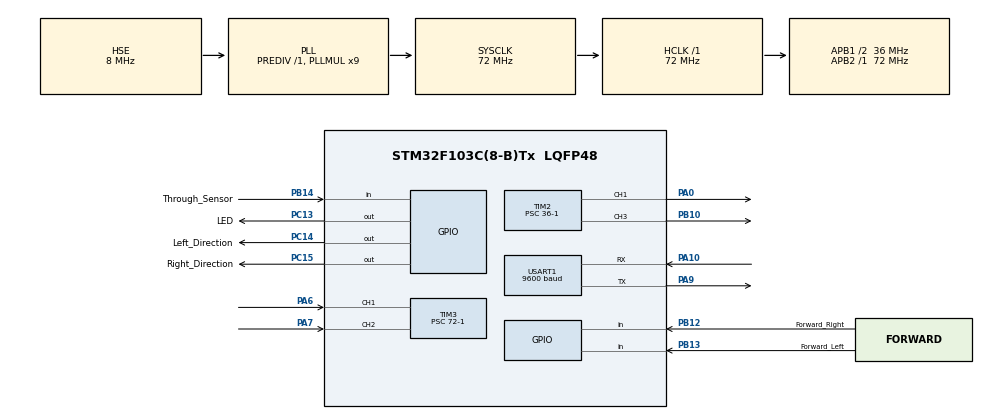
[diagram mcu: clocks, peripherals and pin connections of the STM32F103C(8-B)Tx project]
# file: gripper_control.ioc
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IWDG.Prescaler=IWDG_PRESCALER_16
IWDG.Reload=2500-1
Mcu.Family=STM32F1
Mcu.Name=STM32F103C(8-B)Tx
Mcu.Package=LQFP48
NVIC.PriorityGroup=NVIC_PRIORITYGROUP_4
NVIC.TIM2_IRQn=true\:0\:0\:false\:false\:true\:true\:true\:true
NVIC.TIM3_IRQn=true\:0\:0\:false\:false\:true\:true\:true\:true
NVIC.TIM4_IRQn=true\:0\:0\:false\:false\:true\:true\:true\:true
NVIC.USART1_IRQn=true\:0\:0\:false\:false\:true\:true\:true\:true
PA0-WKUP.Signal=S_TIM2_CH1_ETR
PA10.Mode=Asynchronous
PA10.Signal=USART1_RX
PA13.Mode=Serial_Wire
PA13.Signal=SYS_JTMS-SWDIO
PA14.Mode=Serial_Wire
PA14.Signal=SYS_JTCK-SWCLK
PA6.GPIO_PuPd=GPIO_NOPULL
PA6.Signal=S_TIM3_CH1
PA7.GPIO_PuPd=GPIO_NOPULL
PA7.Signal=S_TIM3_CH2
PA9.Mode=Asynchronous
PA9.Signal=USART1_TX
PB10.Signal=S_TIM2_CH3
PB12.GPIO_Label=Forward_Right
PB12.GPIO_PuPd=GPIO_PULLUP
PB12.Signal=GPIO_Input
PB13.GPIO_Label=Forward_Left
PB13.Signal=GPIO_Input
PB14.GPIO_Label=Through_Sensor
PB14.GPIO_PuPd=GPIO_PULLUP
PB14.Signal=GPIO_Input
PC13-TAMPER-RTC.GPIO_Label=LED
PC13-TAMPER-RTC.Signal=GPIO_Output
PC14-OSC32_IN.GPIO_Label=Left_Direction
PC14-OSC32_IN.Signal=GPIO_Output
PC15-OSC32_OUT.GPIO_Label=Right_Direction
PC15-OSC32_OUT.Signal=GPIO_Output
PD0-OSC_IN.Mode=HSE-External-Oscillator
PD0-OSC_IN.Signal=RCC_OSC_IN
PD1-OSC_OUT.Mode=HSE-External-Oscillator
PD1-OSC_OUT.Signal=RCC_OSC_OUT
ProjectManager.HeapSize=0x200
ProjectManager.StackSize=0x400
ProjectManager.TargetToolchain=STM32CubeIDE
RCC.AHBFreq_Value=72000000
RCC.APB1CLKDivider=RCC_HCLK_DIV2
RCC.APB1Freq_Value=36000000
RCC.APB1TimFreq_Value=72000000
RCC.APB2Freq_Value=72000000
RCC.APB2TimFreq_Value=72000000
RCC.FLatency=FLASH_LATENCY_2
RCC.HCLKFreq_Value=72000000
RCC.PLLMUL=RCC_PLL_MUL9
RCC.PLLSourceVirtual=RCC_PLLSOURCE_HSE
RCC.SYSCLKFreq_VALUE=72000000
RCC.SYSCLKSource=RCC_SYSCLKSOURCE_PLLCLK
RCC.USBFreq_Value=72000000
SH.S_TIM2_CH1_ETR.0=TIM2_CH1,PWM Generation1 CH1
SH.S_TIM2_CH3.0=TIM2_CH3,PWM Generation3 CH3
SH.S_TIM3_CH1.0=TIM3_CH1,Input_Capture1_from_TI1
SH.S_TIM3_CH2.0=TIM3_CH2,Input_Capture2_from_TI2
TIM2.AutoReloadPreload=TIM_AUTORELOAD_PRELOAD_DISABLE
TIM2.Channel-PWM\ Generation1\ CH1=TIM_CHANNEL_1
TIM2.Channel-PWM\ Generation3\ CH3=TIM_CHANNEL_3
TIM2.ClockDivision=TIM_CLOCKDIVISION_DIV1
TIM2.CounterMode=TIM_COUNTERMODE_UP
TIM2.Period=100-1
TIM2.Prescaler=36-1
TIM2.TIM_MasterOutputTrigger=TIM_TRGO_RESET
TIM2.TIM_MasterSlaveMode=TIM_MASTERSLAVEMODE_DISABLE
TIM3.Channel-Input_Capture1_from_TI1=TIM_CHANNEL_1
TIM3.Channel-Input_Capture2_from_TI2=TIM_CHANNEL_2
TIM3.Period=65535
TIM3.Prescaler=72-1
TIM4.AutoReloadPreload=TIM_AUTORELOAD_PRELOAD_DISABLE
TIM4.Period=200-1
TIM4.Prescaler=7200-1
USART1.BaudRate=9600
USART1.Mode=MODE_TX_RX
USART1.Parity=PARITY_NONE
USART1.StopBits=STOPBITS_1
USART1.VirtualMode=VM_ASYNC
USART1.WordLength=WORDLENGTH_8B
VP_IWDG_VS_IWDG.Mode=IWDG_Activate
VP_TIM2_VS_ClockSourceINT.Mode=Internal
VP_TIM3_VS_ClockSourceINT.Mode=Internal
VP_TIM4_VS_ClockSourceINT.Mode=Internal
board=custom

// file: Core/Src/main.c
/* USER CODE BEGIN Header */
/**
  ******************************************************************************
  * @file           : main.c
  * @brief          : Main program body
  ******************************************************************************
  * @attention
  *
  * Copyright (c) 2022 STMicroelectronics.
  * All rights reserved.
  *
  * This software is licensed under terms that can be found in the LICENSE file
  * in the root directory of this software component.
  * If no LICENSE file comes with this software, it is provided AS-IS.
  *
  ******************************************************************************
  */

#include "stdbool.h"

/* USER CODE END Header */
#include "main.h"
#include "iwdg.h"
#include "tim.h"
#include "usart.h"
#include "gpio.h"

/* USER CODE BEGIN PTD */

enum STATE
{
	CAP_RISING, CAP_FALLING
};

/* USER CODE END PTD */

/* USER CODE BEGIN PV */

// Stopping criteria: check every 20ms
const uint16_t EXECUTION_TIMEOUT = 50 - 1; // timeout: 1000ms

uint32_t running = 0;
const float TARGET_ANGLE = 90.0f;
const float MARGIN = 1.05f;

const uint16_t FULL_DUTY_CYCLE = 100;
const uint16_t DUTY_CYCLE_UPPER_BOUND = 55;
const uint16_t DUTY_CYCLE_LOWER_BOUND = 85;
const uint16_t MAX_DIFF = 10;
const uint16_t MIN_DIFF_PER_CYCLE = 2;

uint16_t left_duty_cycle = 55; // Initial duty cycle
uint16_t right_duty_cycle = 55; // Initial duty cycle

uint8_t sensor_states[3] = {0, 0, 0};
uint8_t resp[8] = {0xFE, 0xFE, 0xFE, 0xFE, 0xFE, 0xFE, 0xFE, 0xFE};
uint16_t wrong_command[4] = {0, 0, 0, 0};
bool left_enabled = false;
bool right_enabled = false;
uint16_t left_steps_diff = 0;
uint16_t left_steps_sum = 0;
uint16_t right_steps_diff = 0;
uint16_t right_steps_sum = 0;
uint16_t left_period_cnt = 0;
uint16_t right_period_cnt = 0;
uint16_t left_cycle = 0;
uint16_t right_cycle = 0;
uint16_t execution_time_cnt = 0;
uint8_t uart_recv = 0;

enum STATE left_state = CAP_RISING;
enum STATE right_state = CAP_RISING;

/* USER CODE END PV */

void SystemClock_Config(void);

int main(void)
{

  /* MCU Configuration--------------------------------------------------------*/

  /* Reset of all peripherals, Initializes the Flash interface and the Systick. */
  HAL_Init();

  /* Configure the system clock */
  SystemClock_Config();

  /* Initialize all configured peripherals */
  MX_GPIO_Init();
  MX_USART1_UART_Init();
  MX_TIM2_Init();
  MX_TIM3_Init();
  MX_TIM4_Init();
  MX_IWDG_Init();
  /* USER CODE BEGIN 2 */

  HAL_UART_Receive_IT(&huart1, &uart_recv, 1);

  set_duty_cycle(FULL_DUTY_CYCLE, FULL_DUTY_CYCLE);
  HAL_TIM_PWM_Start(&htim2, TIM_CHANNEL_1 | TIM_CHANNEL_3);

  /* USER CODE END 2 */

  /* Infinite loop */
  while (1)
  {

    /* USER CODE BEGIN 3 */
	  running++;
	  HAL_Delay(800);
	  HAL_IWDG_Refresh(&hiwdg);
  }
  /* USER CODE END 3 */
}

void SystemClock_Config(void)
{
  RCC_OscInitTypeDef RCC_OscInitStruct = {0};
  RCC_ClkInitTypeDef RCC_ClkInitStruct = {0};

  /** Initializes the RCC Oscillators according to the specified parameters
  * in the RCC_OscInitTypeDef structure.
  */
  RCC_OscInitStruct.OscillatorType = RCC_OSCILLATORTYPE_LSI|RCC_OSCILLATORTYPE_HSE;
  RCC_OscInitStruct.HSEState = RCC_HSE_ON;
  RCC_OscInitStruct.HSEPredivValue = RCC_HSE_PREDIV_DIV1;
  RCC_OscInitStruct.HSIState = RCC_HSI_ON;
  RCC_OscInitStruct.LSIState = RCC_LSI_ON;
  RCC_OscInitStruct.PLL.PLLState = RCC_PLL_ON;
  RCC_OscInitStruct.PLL.PLLSource = RCC_PLLSOURCE_HSE;
  RCC_OscInitStruct.PLL.PLLMUL = RCC_PLL_MUL9;
  if (HAL_RCC_OscConfig(&RCC_OscInitStruct) != HAL_OK)
  {
    Error_Handler();
  }

  /** Initializes the CPU, AHB and APB buses clocks
  */
  RCC_ClkInitStruct.ClockType = RCC_CLOCKTYPE_HCLK|RCC_CLOCKTYPE_SYSCLK
                              |RCC_CLOCKTYPE_PCLK1|RCC_CLOCKTYPE_PCLK2;
  RCC_ClkInitStruct.SYSCLKSource = RCC_SYSCLKSOURCE_PLLCLK;
  RCC_ClkInitStruct.AHBCLKDivider = RCC_SYSCLK_DIV1;
  RCC_ClkInitStruct.APB1CLKDivider = RCC_HCLK_DIV2;
  RCC_ClkInitStruct.APB2CLKDivider = RCC_HCLK_DIV1;

  if (HAL_RCC_ClockConfig(&RCC_ClkInitStruct, FLASH_LATENCY_2) != HAL_OK)
  {
    Error_Handler();
  }
}

/* USER CODE BEGIN 4 */

inline uint16_t calc_duty_cycle(const uint16_t x)
{
	// if x > diff_max, then y = DUTY_CYCLE_UPPER_BOUND
	// if x < 0, then y = DUTY_CYCLE_LOWER_BOUND
	// y = (D_upper - D_lower) / diff_max * x + DUTY_CYCLE_UPPER_BOUND

	if (x > MAX_DIFF)
		return DUTY_CYCLE_UPPER_BOUND;
	else if (x < 0)
		return DUTY_CYCLE_LOWER_BOUND;

	uint16_t y = (DUTY_CYCLE_UPPER_BOUND - DUTY_CYCLE_LOWER_BOUND) / MAX_DIFF * x + DUTY_CYCLE_LOWER_BOUND;

	if (y > DUTY_CYCLE_LOWER_BOUND)
		return DUTY_CYCLE_LOWER_BOUND;
	else if (y < DUTY_CYCLE_UPPER_BOUND)
		return DUTY_CYCLE_UPPER_BOUND;

	return y;
}

inline void set_duty_cycle(const uint16_t left_value, const uint16_t right_value)
{
	htim2.Instance->CCR1 = left_value;
	htim2.Instance->CCR3 = right_value;
}

inline void init_values()
{
	left_steps_sum = 0;
	left_steps_diff = 0;
	right_steps_sum = 0;
	right_steps_diff = 0;
	left_period_cnt = 0;
	right_period_cnt = 0;
	execution_time_cnt = 0;

	left_state = CAP_RISING;
	right_state = CAP_RISING;
}

inline float step2deg(uint16_t steps)
{
	return (float) steps / (6000.0f * 9.0f / 68.0f) * 360.0f;
}

void HAL_TIM_IC_CaptureCallback(TIM_HandleTypeDef *htim)
{
	if (left_enabled && htim->Channel == HAL_TIM_ACTIVE_CHANNEL_2)
	{
		switch(left_state)
		{
			case CAP_RISING:
				TIM_RESET_CAPTUREPOLARITY(&htim3, TIM_CHANNEL_2);
				__HAL_TIM_SET_CAPTUREPOLARITY(&htim3, TIM_CHANNEL_2, TIM_INPUTCHANNELPOLARITY_FALLING);
				left_state = CAP_FALLING;
				break;
			case CAP_FALLING:
				TIM_RESET_CAPTUREPOLARITY(&htim3, TIM_CHANNEL_2);
				__HAL_TIM_SET_CAPTUREPOLARITY(&htim3, TIM_CHANNEL_2, TIM_INPUTCHANNELPOLARITY_RISING);
				left_steps_sum += 1;
				left_steps_diff += 1;
				left_state = CAP_RISING;
				break;
		}
	}
	if (right_enabled && htim->Channel == HAL_TIM_ACTIVE_CHANNEL_1)
	{
		switch(right_state)
		{
			case CAP_RISING:
				TIM_RESET_CAPTUREPOLARITY(&htim3, TIM_CHANNEL_1);
				__HAL_TIM_SET_CAPTUREPOLARITY(&htim3, TIM_CHANNEL_1, TIM_INPUTCHANNELPOLARITY_FALLING);
				right_state = CAP_FALLING;
				break;
			case CAP_FALLING:
				TIM_RESET_CAPTUREPOLARITY(&htim3, TIM_CHANNEL_1);
				__HAL_TIM_SET_CAPTUREPOLARITY(&htim3, TIM_CHANNEL_1, TIM_INPUTCHANNELPOLARITY_RISING);
				right_steps_sum += 1;
				right_steps_diff += 1;
				right_state = CAP_RISING;
				break;
		}
	}
}

void HAL_TIM_PeriodElapsedCallback(TIM_HandleTypeDef *htim)
{
	if (htim == (&htim4))
	{
		if (execution_time_cnt > 1)
		{
//			left_cycle = left_enabled ? calc_duty_cycle(left_steps_diff) : FULL_DUTY_CYCLE;
			left_cycle = left_enabled ? calc_duty_cycle(left_steps_diff) - 3 : FULL_DUTY_CYCLE;
			right_cycle = right_enabled ? calc_duty_cycle(right_steps_diff) : FULL_DUTY_CYCLE;
			set_duty_cycle(left_cycle, right_cycle);

			left_enabled = left_steps_diff > MIN_DIFF_PER_CYCLE ||
						   TARGET_ANGLE * MARGIN - step2deg(left_steps_sum) > 0.0;
			right_enabled = right_steps_diff > MIN_DIFF_PER_CYCLE ||
						   TARGET_ANGLE * MARGIN - step2deg(right_steps_sum) > 0.0;
		}

		if ((execution_time_cnt > EXECUTION_TIMEOUT) || (!left_enabled && !right_enabled))
		{
			// stop motors
			left_enabled = false;
			right_enabled = false;
			set_duty_cycle(FULL_DUTY_CYCLE, FULL_DUTY_CYCLE);

			// stop capture feedback
			HAL_TIM_IC_Stop_IT(&htim3, TIM_CHANNEL_1);
			HAL_TIM_IC_Stop_IT(&htim3, TIM_CHANNEL_2);

			// |   0-1   |   2-3   |   4   |   5   |   6-7   |
			// | l_steps | r_steps |  l/r_mv_flag  | tim_cnt |
			resp[0] = (uint8_t)(left_steps_sum & 0x00FF);
			resp[1] = (uint8_t)((left_steps_sum & 0xFF00) >> 8);
			resp[2] = (uint8_t)(right_steps_sum & 0x00FF);
			resp[3] = (uint8_t)((right_steps_sum & 0xFF00) >> 8);
			resp[4] = (uint8_t)left_steps_diff;
			resp[5] = (uint8_t)right_steps_diff;

			resp[6] = (uint8_t)(execution_time_cnt & 0x00FF);
			resp[7] = (uint8_t)((execution_time_cnt & 0xFF00) >> 8);

			init_values();

			HAL_TIM_Base_Stop_IT(&htim4);
			HAL_UART_Transmit(&huart1, (uint8_t*)&resp, 8, 0xFFFF);
			HAL_UART_Receive_IT(&huart1, &uart_recv, 1);
		}

		execution_time_cnt += 1;

		left_steps_diff = 0;
		right_steps_diff = 0;
	}
}

void HAL_UART_RxCpltCallback(UART_HandleTypeDef *huart)
{
	HAL_GPIO_TogglePin(LED_GPIO_Port, LED_Pin);

	if (uart_recv == 0)
	{
		set_duty_cycle(FULL_DUTY_CYCLE, FULL_DUTY_CYCLE);
		HAL_UART_Receive_IT(&huart1, &uart_recv, 1);
	}
	else if (uart_recv == 1) //make finger vertical
	{
		// set two finger rotate direction
		init_values();
		HAL_GPIO_WritePin(Left_Direction_GPIO_Port, Left_Direction_Pin, GPIO_PIN_RESET);
		HAL_GPIO_WritePin(Right_Direction_GPIO_Port, Right_Direction_Pin, GPIO_PIN_SET);

		// start capture feedback
		HAL_TIM_IC_Start_IT(&htim3, TIM_CHANNEL_1);
		HAL_TIM_IC_Start_IT(&htim3, TIM_CHANNEL_2);

		// set moving flags
		left_enabled = true;
		right_enabled = true;

		// start rotating...
		set_duty_cycle(DUTY_CYCLE_UPPER_BOUND, DUTY_CYCLE_UPPER_BOUND);

		// start timer to check finish signs
		HAL_TIM_Base_Start_IT(&htim4);
	}
	else if (uart_recv == 2) //make finger horizon
	{
		// set two finger rotate direction
		init_values();
		HAL_GPIO_WritePin(Left_Direction_GPIO_Port, Left_Direction_Pin, GPIO_PIN_SET);
		HAL_GPIO_WritePin(Right_Direction_GPIO_Port, Right_Direction_Pin, GPIO_PIN_RESET);

		// start capture feedback
		HAL_TIM_IC_Start_IT(&htim3, TIM_CHANNEL_1);
		HAL_TIM_IC_Start_IT(&htim3, TIM_CHANNEL_2);

		// set moving flags
		left_enabled = true;
		right_enabled = true;

		// start rotating...
		set_duty_cycle(DUTY_CYCLE_UPPER_BOUND, DUTY_CYCLE_UPPER_BOUND);

		// start timer to check finish signs
		HAL_TIM_Base_Start_IT(&htim4);
	}
	else if (uart_recv == 3) //read sensors info
	{
		sensor_states[0]= (uint8_t)HAL_GPIO_ReadPin(Through_Sensor_GPIO_Port, Through_Sensor_Pin);
		sensor_states[1]= (uint8_t)HAL_GPIO_ReadPin(Forward_Left_GPIO_Port, Forward_Left_Pin);
		sensor_states[2]= (uint8_t)HAL_GPIO_ReadPin(Forward_Right_GPIO_Port, Forward_Right_Pin);

		//enable receive interrupt for next serial input
		HAL_UART_Transmit(&huart1, sensor_states, 3, 0xFFFF);
		HAL_UART_Receive_IT(&huart1, &uart_recv, 1);
	}
	else
	{
		//enable receive interrupt for next serial input
		HAL_UART_Transmit(&huart1, (uint8_t*) &wrong_command, 8, 100); // 0xFFFF
		HAL_UART_Receive_IT(&huart1, &uart_recv, 1);
	}
}

/* USER CODE END 4 */

void Error_Handler(void)
{
  __disable_irq();
  while (1)
  {
  }
}
